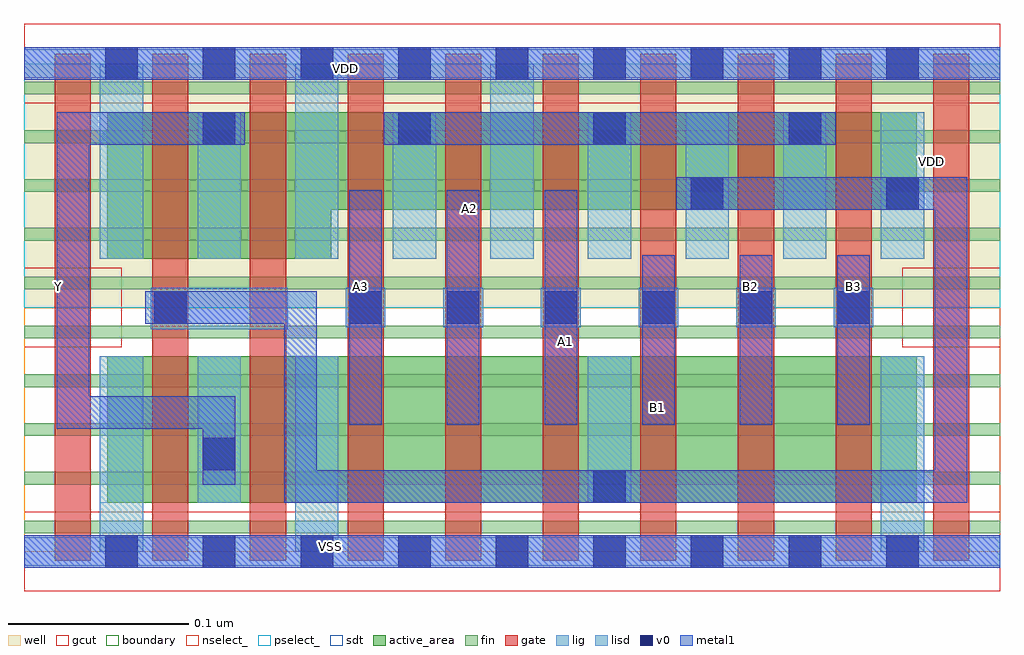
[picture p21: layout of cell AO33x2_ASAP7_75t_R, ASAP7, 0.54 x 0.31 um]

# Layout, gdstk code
import gdstk
lib = gdstk.Library(unit=1e-6, precision=2.5e-10)
def R(c, l, rs):  # rectangles x0, y0, x1, y1
    for r in rs: c.add(gdstk.rectangle(r[:2], r[2:], *l))
def A(c, l, x, y, w, h, nx, ny, dx, dy):  # array of equal rectangles
    R(c, l, [(x+i*dx, y+j*dy, x+i*dx+w, y+j*dy+h) for i in range(nx) for j in range(ny)])
def P(c, l, *ps):  # polygons
    for p in ps: c.add(gdstk.Polygon(p, *l))
well = (1, 0)
fin = (2, 0)
gate = (7, 0)
gcut = (10, 0)
active_area = (11, 0)
nselect_ = (12, 0)
pselect_ = (13, 0)
lig = (16, 0)
lisd = (17, 0)
v0 = (18, 0)
metal1 = (19, 0)
sdt = (88, 0)
boundary = (100, 0)

ao33x2_asap7_75t_r = lib.new_cell('AO33x2_ASAP7_75t_R')
R(ao33x2_asap7_75t_r, well, [(0,0.135,0.54,0.27)])
A(ao33x2_asap7_75t_r, fin, 0, 0.01, 0.54, 0.007, 1, 10, 0, 0.027)
A(ao33x2_asap7_75t_r, gate, 0.017, -0.005, 0.02, 0.2805, 10, 1, 0.054, 0)
R(ao33x2_asap7_75t_r, gcut, [(0,-0.022,0.54,0.022), (0,0.113,0.054,0.157), (0.486,0.113,0.54,0.157), (0,0.248,0.54,0.292)])
R(ao33x2_asap7_75t_r, active_area, [(0.046,0.027,0.494,0.108)])
P(ao33x2_asap7_75t_r, active_area, [(0.494,0.243),(0.046,0.243),(0.046,0.162),(0.17,0.162),(0.17,0.189),(0.494,0.189)])
R(ao33x2_asap7_75t_r, nselect_, [(0,0,0.54,0.135)])
R(ao33x2_asap7_75t_r, pselect_, [(0,0.135,0.54,0.27)])
A(ao33x2_asap7_75t_r, lig, 0.178, 0.124, 0.022, 0.022, 6, 1, 0.054, 0)
R(ao33x2_asap7_75t_r, lig, [(0,-0.008,0.54,0.008), (0.07,0.123,0.146,0.146), (0,0.262,0.54,0.278)])
A(ao33x2_asap7_75t_r, lisd, 0.042, 0.162, 0.024, 0.108, 3, 1, 0.108, 0)
A(ao33x2_asap7_75t_r, lisd, 0.096, 0.162, 0.024, 0.081, 3, 1, 0.108, 0)
A(ao33x2_asap7_75t_r, lisd, 0.366, 0.162, 0.024, 0.081, 3, 1, 0.054, 0)
R(ao33x2_asap7_75t_r, lisd, [(0.042,0,0.066,0.108), (0.15,0,0.174,0.108), (0.474,0,0.498,0.108), (0.096,0.027,0.12,0.108), (0.312,0.027,0.336,0.108)])
A(ao33x2_asap7_75t_r, v0, 0.045, -0.009, 0.018, 0.018, 9, 2, 0.054, 0.27)
A(ao33x2_asap7_75t_r, v0, 0.18, 0.126, 0.018, 0.018, 6, 1, 0.054, 0)
A(ao33x2_asap7_75t_r, v0, 0.099, 0.225, 0.018, 0.018, 4, 1, 0.108, 0)
R(ao33x2_asap7_75t_r, v0, [(0.315,0.027,0.333,0.045), (0.099,0.045,0.117,0.063), (0.072,0.126,0.09,0.144), (0.369,0.189,0.387,0.207), (0.477,0.189,0.495,0.207)])
A(ao33x2_asap7_75t_r, metal1, 0.18, 0.07, 0.018, 0.13, 3, 1, 0.054, 0)
A(ao33x2_asap7_75t_r, metal1, 0.342, 0.07, 0.018, 0.094, 3, 1, 0.054, 0)
R(ao33x2_asap7_75t_r, metal1, [(0,-0.009,0.54,0.009), (0.199,0.225,0.449,0.243), (0,0.261,0.54,0.279)])
P(ao33x2_asap7_75t_r, metal1, [(0.522,0.207),(0.361,0.207),(0.361,0.189),(0.504,0.189),(0.504,0.045),(0.162,0.045),(0.162,0.144),(0.067,0.144),(0.067,0.126),(0.144,0.126),(0.144,0.027),(0.522,0.027)],
  [(0.122,0.243),(0.018,0.243),(0.018,0.068),(0.099,0.068),(0.099,0.037),(0.117,0.037),(0.117,0.086),(0.036,0.086),(0.036,0.225),(0.122,0.225)])
A(ao33x2_asap7_75t_r, sdt, 0.042, 0.027, 0.024, 0.081, 3, 1, 0.054, 0)
A(ao33x2_asap7_75t_r, sdt, 0.042, 0.162, 0.024, 0.081, 9, 1, 0.054, 0)
R(ao33x2_asap7_75t_r, sdt, [(0.312,0.027,0.336,0.108), (0.474,0.027,0.498,0.108)])
R(ao33x2_asap7_75t_r, boundary, [(0,0,0.54,0.27)])
ao33x2_asap7_75t_r.add(gdstk.Label('VDD', (0.502,0.216), layer=1, texttype=251))
ao33x2_asap7_75t_r.add(gdstk.Label('B3', (0.459,0.1465), layer=19, texttype=251))
ao33x2_asap7_75t_r.add(gdstk.Label('B1', (0.3505,0.0795), layer=19, texttype=251))
ao33x2_asap7_75t_r.add(gdstk.Label('A1', (0.2995,0.116), layer=19, texttype=251))
ao33x2_asap7_75t_r.add(gdstk.Label('VSS', (0.1695,0.003), layer=19, texttype=251))
ao33x2_asap7_75t_r.add(gdstk.Label('VDD', (0.178,0.2675), layer=19, texttype=251))
ao33x2_asap7_75t_r.add(gdstk.Label('A2', (0.2465,0.19), layer=19, texttype=251))
ao33x2_asap7_75t_r.add(gdstk.Label('A3', (0.186,0.1465), layer=19, texttype=251))
ao33x2_asap7_75t_r.add(gdstk.Label('Y', (0.019,0.1465), layer=19, texttype=251))
ao33x2_asap7_75t_r.add(gdstk.Label('B2', (0.402,0.1465), layer=19, texttype=251))
ao33x2_asap7_75t_r.add(gdstk.Label('VSS', (0.571,0.215), layer=3, texttype=251))

lib.write_gds('AO33x2_ASAP7_75t_R.gds')
